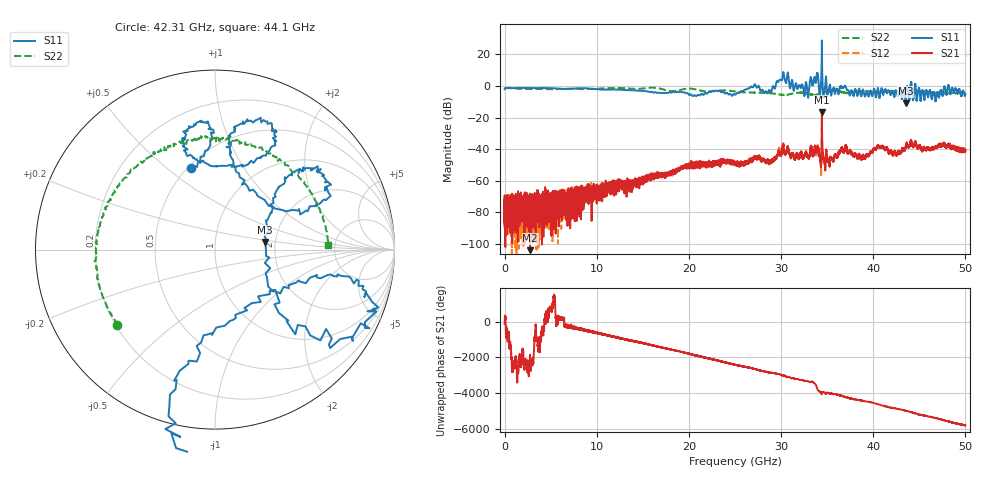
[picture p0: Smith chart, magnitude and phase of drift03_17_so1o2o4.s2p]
!Created with skrf (http://scikit-rf.org).
# Hz S RI R 50.0
!freq ReS11 ImS11 ReS21 ImS21 ReS12 ImS12 ReS22 ImS22
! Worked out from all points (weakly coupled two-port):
!   10000 points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, 5.3 MHz to 50 GHz, reference 50 ohm
!   highest |S21| = -16.50 dB at 34.43 GHz (marker M1); lowest = -103.9 dB at 2.77 GHz (marker M2)
!   lowest |S11| = -11.1 dB at 43.52 GHz (marker M3), VSWR 1.78, Z = 87.8 + j8.03 ohm
!   |S11| at or under -10 dB: 43.50001 GHz to 43.54394 GHz (43.92 MHz wide, 0.101 % of centre); 43.54822 GHz to 43.55136 GHz (3.137 MHz wide, 0.0072 % of centre)
!   |S22| runs from -5.8 to -1.1 dB; largest |S21 - S12| = 0.047
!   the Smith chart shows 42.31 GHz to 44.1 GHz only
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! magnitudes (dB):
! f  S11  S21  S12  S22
! 5.3 MHz  -2.1  -89.4  -78.6  -1.3
! 2.77 GHz  -1.4  -103.9  -76.5  -2.0
! 8.34 GHz  -1.5  -62.9  -74.2  -2.1
! 16.67 GHz  -4.4  -57.0  -56.2  -1.5
! 20.53 GHz  -6.2  -50.1  -50.0  -1.9
! 25.01 GHz  -5.5  -49.6  -48.9  -3.5
! 27.02 GHz  -0.3  -45.6  -46.3  -4.3
! 28.72 GHz  -2.5  -47.5  -48.4  -4.5
! 30.14 GHz  4.4  -40.6  -40.7  -5.7
! 32.74 GHz  2.0  -42.1  -42.0  -4.6
! 33.34 GHz  2.6  -39.8  -40.1  -5.5
! 33.82 GHz  3.9  -41.2  -42.3  -5.7
! 34.43 GHz  28.7  -16.5  -18.7  -4.6
! 35.31 GHz  0.7  -46.8  -46.8  -3.4
! 36.85 GHz  -0.4  -41.7  -41.4  -4.3
! 38.88 GHz  -2.4  -44.3  -43.9  -3.2
! 40.58 GHz  -3.2  -38.4  -38.0  -4.0
! 41.67 GHz  -3.1  -41.6  -42.3  -3.4
! 43.52 GHz  -11.1  -38.6  -38.7  -4.2
! 46.58 GHz  -4.1  -39.2  -39.4  -4.5
! 47.48 GHz  -5.3  -37.2  -37.0  -4.9
! 50 GHz  -5.3  -41.2  -41.2  -4.6
